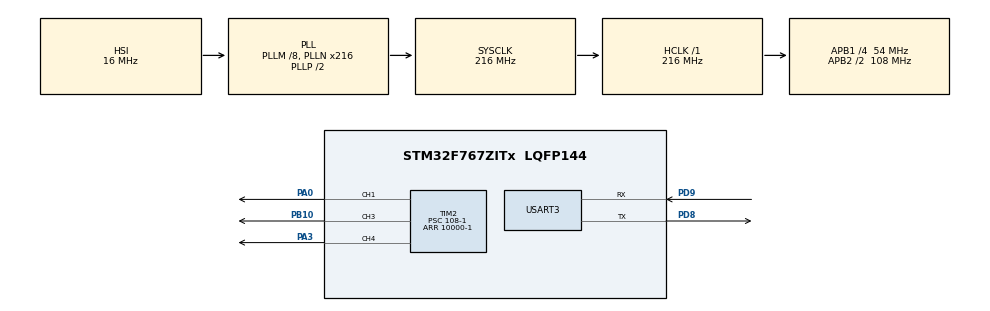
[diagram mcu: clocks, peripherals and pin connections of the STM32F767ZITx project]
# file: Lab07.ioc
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CORTEX_M7.default_mode_Activation=1
Mcu.Family=STM32F7
Mcu.Name=STM32F767ZITx
Mcu.Package=LQFP144
NVIC.PriorityGroup=NVIC_PRIORITYGROUP_4
PA0/WKUP.GPIO_Speed=GPIO_SPEED_FREQ_LOW
PA0/WKUP.Signal=S_TIM2_CH1_ETR
PA3.GPIO_Speed=GPIO_SPEED_FREQ_LOW
PA3.Signal=S_TIM2_CH4
PB10.GPIO_Speed=GPIO_SPEED_FREQ_LOW
PB10.Signal=S_TIM2_CH3
PD8.Mode=Asynchronous
PD8.Signal=USART3_TX
PD9.Mode=Asynchronous
PD9.Signal=USART3_RX
ProjectManager.HeapSize=0x200
ProjectManager.StackSize=0x400
ProjectManager.TargetToolchain=STM32CubeIDE
RCC.AHBFreq_Value=216000000
RCC.APB1CLKDivider=RCC_HCLK_DIV4
RCC.APB1Freq_Value=54000000
RCC.APB1TimFreq_Value=108000000
RCC.APB2CLKDivider=RCC_HCLK_DIV2
RCC.APB2Freq_Value=108000000
RCC.APB2TimFreq_Value=216000000
RCC.CortexFreq_Value=216000000
RCC.HCLKFreq_Value=216000000
RCC.HSE_VALUE=25000000
RCC.HSI_VALUE=16000000
RCC.LSE_VALUE=32768
RCC.PLLM=8
RCC.PLLN=216
RCC.SYSCLKFreq_VALUE=216000000
RCC.SYSCLKSource=RCC_SYSCLKSOURCE_PLLCLK
RCC.USBFreq_Value=216000000
RCC.VCOOutputFreq_Value=432000000
SH.S_TIM2_CH1_ETR.0=TIM2_CH1,PWM Generation1 CH1
SH.S_TIM2_CH3.0=TIM2_CH3,PWM Generation3 CH3
SH.S_TIM2_CH4.0=TIM2_CH4,PWM Generation4 CH4
TIM2.Channel-PWM\ Generation1\ CH1=TIM_CHANNEL_1
TIM2.Channel-PWM\ Generation3\ CH3=TIM_CHANNEL_3
TIM2.Channel-PWM\ Generation4\ CH4=TIM_CHANNEL_4
TIM2.Period=10000-1
TIM2.Prescaler=108-1
TIM2.Pulse-PWM\ Generation1\ CH1=0
TIM2.Pulse-PWM\ Generation3\ CH3=0
TIM2.Pulse-PWM\ Generation4\ CH4=0
USART3.VirtualMode-Asynchronous=VM_ASYNC
VP_TIM2_VS_ClockSourceINT.Mode=Internal
board=custom

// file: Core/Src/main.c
/* USER CODE BEGIN Header */
/**
  ******************************************************************************
  * @file           : main.c
  * @brief          : Main program body
  ******************************************************************************
  * @attention
  *
  * Copyright (c) 2025 STMicroelectronics.
  * All rights reserved.
  *
  * This software is licensed under terms that can be found in the LICENSE file
  * in the root directory of this software component.
  * If no LICENSE file comes with this software, it is provided AS-IS.
  *
  ******************************************************************************
  */
/* USER CODE END Header */
#include "main.h"
#include "tim.h"
#include "usart.h"
#include "gpio.h"

/* USER CODE BEGIN PV */
uint8_t pwmR, pwmG, pwmB;
float dutyR = 0.0, dutyG = 0.0, dutyB = 0.0;
char ch;
/* USER CODE END PV */

void SystemClock_Config(void);
static void MPU_Config(void);

/* USER CODE BEGIN 0 */
void setPWM(uint8_t duty, uint32_t channel) {
    uint32_t period = __HAL_TIM_GET_AUTORELOAD(&htim2);
    uint32_t pulse = (duty * period) / 100;
    __HAL_TIM_SET_COMPARE(&htim2, channel, pulse);
}
/* USER CODE END 0 */

int main(void)
{

  /* MPU Configuration--------------------------------------------------------*/
  MPU_Config();

  /* MCU Configuration--------------------------------------------------------*/

  /* Reset of all peripherals, Initializes the Flash interface and the Systick. */
  HAL_Init();

  /* Configure the system clock */
  SystemClock_Config();

  /* Initialize all configured peripherals */
  MX_GPIO_Init();
  MX_TIM2_Init();
  MX_USART3_UART_Init();
  /* USER CODE BEGIN 2 */
  HAL_TIM_PWM_Start(&htim2, TIM_CHANNEL_1); // Red
  HAL_TIM_PWM_Start(&htim2, TIM_CHANNEL_4); // Green
  HAL_TIM_PWM_Start(&htim2, TIM_CHANNEL_3); // Blue
  /* USER CODE END 2 */

  /* Infinite loop */
  while (1)
  {

    /* USER CODE BEGIN 3 */
//	  const char *input = "\tInput => ";
//	  HAL_UART_Transmit(&huart3, (uint8_t*)input, strlen(input), HAL_MAX_DELAY);

	  HAL_UART_Receive(&huart3, &ch, 1, HAL_MAX_DELAY);
	  HAL_UART_Transmit(&huart3, &ch, 1, HAL_MAX_DELAY);

	  const char *nl = "\r\n";
	  HAL_UART_Transmit(&huart3, (uint8_t*)nl, strlen(nl), HAL_MAX_DELAY);

	  if (ch == 'r') {
		  dutyR = (dutyR + 0.2);
		  if (dutyR > 1){
			  dutyR = 0;
		  }
		  setPWM(dutyR, TIM_CHANNEL_1);
	  }
	  else if (ch == 'g') {

		  dutyG = (dutyG + 0.2);
		  if (dutyG > 1){
		  	  dutyG = 0;
		  }
		  setPWM(dutyG, TIM_CHANNEL_4);
	  }
	  else if (ch == 'b') {
	  	  dutyB = (dutyB + 0.2);
	  	  if (dutyB > 1){
	  		  dutyB = 0;
	  	  }
	  	  setPWM(dutyB, TIM_CHANNEL_3);
	  }

      char msg[50];
      sprintf(msg, "R=%.2f, G=%.2f, B=%.2f\r\n", dutyR, dutyG, dutyB);
      HAL_UART_Transmit(&huart3, (uint8_t*)msg, strlen(msg), HAL_MAX_DELAY);

	  htim2.Instance -> CCR1 = (10000-1) * dutyR;
	  htim2.Instance -> CCR4 = (10000-1) * dutyG;
	  htim2.Instance -> CCR3 = (10000-1) * dutyB;
//
//	  HAL_TIM_PWM_Start(&htim2, TIM_CHANNEL_1);
//	  HAL_TIM_PWM_Start(&htim2, TIM_CHANNEL_4);
//	  HAL_TIM_PWM_Start(&htim2, TIM_CHANNEL_3);
//	  HAL_Delay(100);
//	  HAL_TIM_PWM_Stop(&htim2, TIM_CHANNEL_3);

  }
  /* USER CODE END 3 */
}

void SystemClock_Config(void)
{
  RCC_OscInitTypeDef RCC_OscInitStruct = {0};
  RCC_ClkInitTypeDef RCC_ClkInitStruct = {0};

  /** Configure the main internal regulator output voltage
  */
  __HAL_RCC_PWR_CLK_ENABLE();
  __HAL_PWR_VOLTAGESCALING_CONFIG(PWR_REGULATOR_VOLTAGE_SCALE1);

  /** Initializes the RCC Oscillators according to the specified parameters
  * in the RCC_OscInitTypeDef structure.
  */
  RCC_OscInitStruct.OscillatorType = RCC_OSCILLATORTYPE_HSI;
  RCC_OscInitStruct.HSIState = RCC_HSI_ON;
  RCC_OscInitStruct.HSICalibrationValue = RCC_HSICALIBRATION_DEFAULT;
  RCC_OscInitStruct.PLL.PLLState = RCC_PLL_ON;
  RCC_OscInitStruct.PLL.PLLSource = RCC_PLLSOURCE_HSI;
  RCC_OscInitStruct.PLL.PLLM = 8;
  RCC_OscInitStruct.PLL.PLLN = 216;
  RCC_OscInitStruct.PLL.PLLP = RCC_PLLP_DIV2;
  RCC_OscInitStruct.PLL.PLLQ = 2;
  RCC_OscInitStruct.PLL.PLLR = 2;
  if (HAL_RCC_OscConfig(&RCC_OscInitStruct) != HAL_OK)
  {
    Error_Handler();
  }

  /** Activate the Over-Drive mode
  */
  if (HAL_PWREx_EnableOverDrive() != HAL_OK)
  {
    Error_Handler();
  }

  /** Initializes the CPU, AHB and APB buses clocks
  */
  RCC_ClkInitStruct.ClockType = RCC_CLOCKTYPE_HCLK|RCC_CLOCKTYPE_SYSCLK
                              |RCC_CLOCKTYPE_PCLK1|RCC_CLOCKTYPE_PCLK2;
  RCC_ClkInitStruct.SYSCLKSource = RCC_SYSCLKSOURCE_PLLCLK;
  RCC_ClkInitStruct.AHBCLKDivider = RCC_SYSCLK_DIV1;
  RCC_ClkInitStruct.APB1CLKDivider = RCC_HCLK_DIV4;
  RCC_ClkInitStruct.APB2CLKDivider = RCC_HCLK_DIV2;

  if (HAL_RCC_ClockConfig(&RCC_ClkInitStruct, FLASH_LATENCY_7) != HAL_OK)
  {
    Error_Handler();
  }
}

 /* MPU Configuration */

void MPU_Config(void)
{
  MPU_Region_InitTypeDef MPU_InitStruct = {0};

  /* Disables the MPU */
  HAL_MPU_Disable();

  /** Initializes and configures the Region and the memory to be protected
  */
  MPU_InitStruct.Enable = MPU_REGION_ENABLE;
  MPU_InitStruct.Number = MPU_REGION_NUMBER0;
  MPU_InitStruct.BaseAddress = 0x0;
  MPU_InitStruct.Size = MPU_REGION_SIZE_4GB;
  MPU_InitStruct.SubRegionDisable = 0x87;
  MPU_InitStruct.TypeExtField = MPU_TEX_LEVEL0;
  MPU_InitStruct.AccessPermission = MPU_REGION_NO_ACCESS;
  MPU_InitStruct.DisableExec = MPU_INSTRUCTION_ACCESS_DISABLE;
  MPU_InitStruct.IsShareable = MPU_ACCESS_SHAREABLE;
  MPU_InitStruct.IsCacheable = MPU_ACCESS_NOT_CACHEABLE;
  MPU_InitStruct.IsBufferable = MPU_ACCESS_NOT_BUFFERABLE;

  HAL_MPU_ConfigRegion(&MPU_InitStruct);
  /* Enables the MPU */
  HAL_MPU_Enable(MPU_PRIVILEGED_DEFAULT);

}

void Error_Handler(void)
{
  __disable_irq();
  while (1)
  {
  }
}
